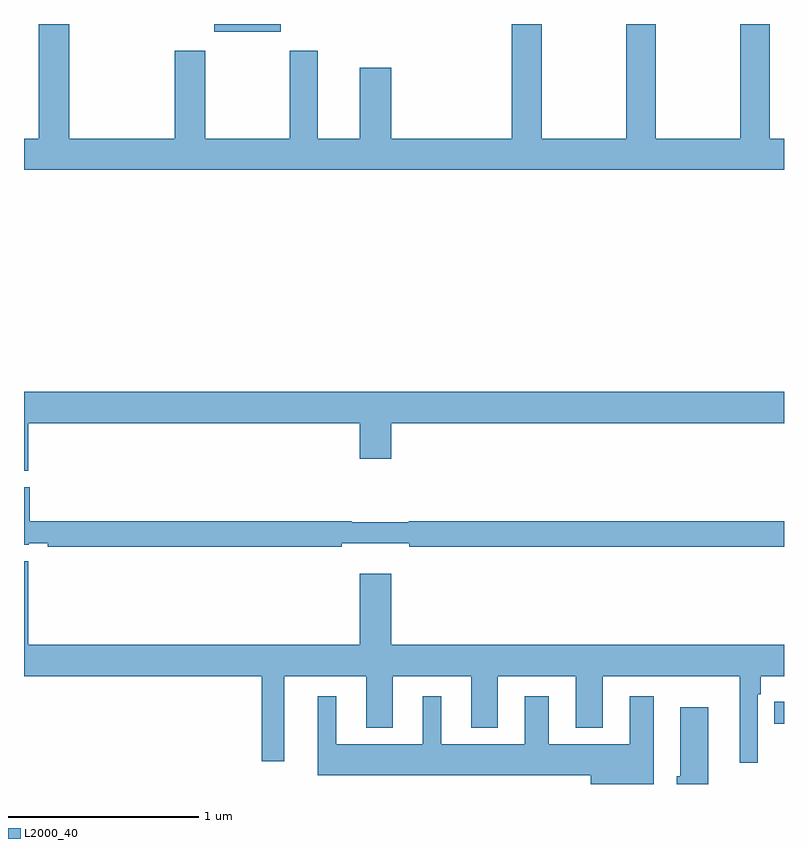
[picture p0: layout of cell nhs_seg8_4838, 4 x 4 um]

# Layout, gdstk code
import gdstk
lib = gdstk.Library(unit=1e-6, precision=1e-09)
def R(c, l, rs):  # rectangles x0, y0, x1, y1
    for r in rs: c.add(gdstk.rectangle(r[:2], r[2:], *l))
def P(c, l, *ps):  # polygons
    for p in ps: c.add(gdstk.Polygon(p, *l))
L2000_40 = (2000, 40)

nhs_seg8_4838 = lib.new_cell('nhs_seg8_4838')
R(nhs_seg8_4838, L2000_40, [(406.948,1148.218,407,1148.334), (404,1151.858,404.35,1151.9)])
P(nhs_seg8_4838, L2000_40, [(407,1151.296),(406.926,1151.296),(406.926,1151.9),(406.771,1151.9),(406.771,1151.296),(406.326,1151.296),(406.326,1151.9),(406.171,1151.9),(406.171,1151.296),(405.726,1151.296),(405.726,1151.9),(405.566,1151.9),(405.566,1151.296),(404.932,1151.296),(404.932,1151.671),(404.768,1151.671),(404.768,1151.296),(404.545,1151.296),(404.545,1151.758),(404.398,1151.758),(404.398,1151.296),(403.953,1151.296),(403.953,1151.758),(403.793,1151.758),(403.793,1151.296),(403.238,1151.296),(403.238,1151.9),(403.078,1151.9),(403.078,1151.296),(403,1151.296),(403,1151.132),(407,1151.132)],
  [(403.022,1149.8),(404.768,1149.8),(404.768,1149.612),(404.932,1149.612),(404.932,1149.8),(407,1149.8),(407,1149.964),(403,1149.964),(403,1149.548),(403.022,1149.548)],
  [(404.672,1149.167),(405.028,1149.167),(405.028,1149.148),(407,1149.148),(407,1149.284),(405.026,1149.284),(405.026,1149.277),(404.726,1149.277),(404.726,1149.284),(403.03,1149.284),(403.03,1149.463),(403,1149.463),(403,1149.158),(403.026,1149.158),(403.026,1149.168),(403.126,1149.168),(403.126,1149.148),(404.672,1149.148)],
  [(406.863,1148.372),(406.877,1148.372),(406.877,1148.468),(407,1148.468),(407,1148.632),(404.932,1148.632),(404.932,1149.007),(404.768,1149.007),(404.768,1148.632),(403.022,1148.632),(403.022,1149.073),(403,1149.073),(403,1148.468),(404.25,1148.468),(404.25,1148.019),(404.371,1148.019),(404.371,1148.468),(404.801,1148.468),(404.801,1148.195),(404.941,1148.195),(404.941,1148.468),(405.353,1148.468),(405.353,1148.195),(405.493,1148.195),(405.493,1148.468),(405.905,1148.468),(405.905,1148.195),(406.045,1148.195),(406.045,1148.468),(406.766,1148.468),(406.766,1148.013),(406.863,1148.013)],
  [(406.315,1148.362),(406.187,1148.362),(406.187,1148.11),(405.763,1148.11),(405.763,1148.362),(405.635,1148.362),(405.635,1148.11),(405.196,1148.11),(405.196,1148.362),(405.098,1148.362),(405.098,1148.11),(404.644,1148.11),(404.644,1148.362),(404.546,1148.362),(404.546,1147.946),(405.983,1147.946),(405.983,1147.9),(406.315,1147.9)],
  [(406.6,1148.305),(406.454,1148.305),(406.454,1147.941),(406.436,1147.941),(406.436,1147.9),(406.6,1147.9)])

lib.write_gds('nhs_seg8_4838.gds')
